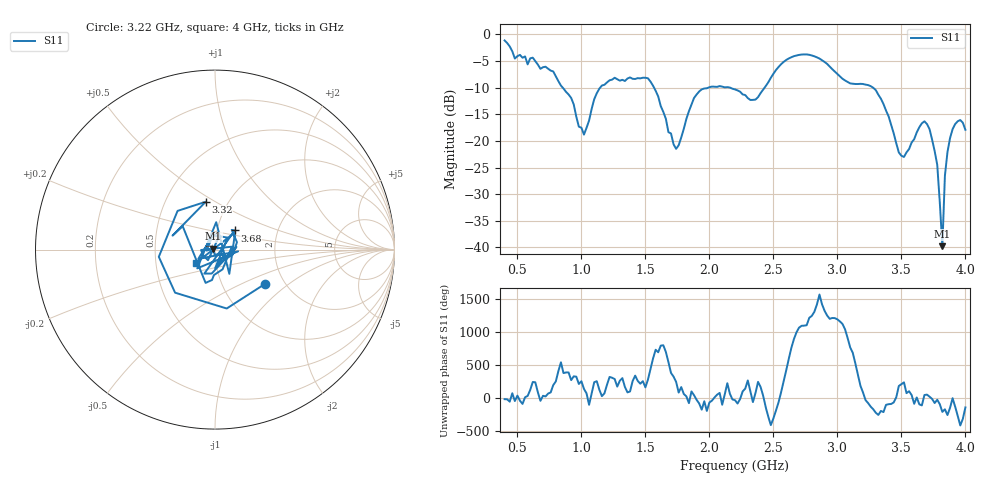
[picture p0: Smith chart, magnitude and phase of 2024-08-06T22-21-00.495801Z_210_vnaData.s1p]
!Created with skrf (http://scikit-rf.org).
# Hz S RI R 50.0
!freq ReS11 ImS11
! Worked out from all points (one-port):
!   181 points, 400 MHz to 4 GHz, reference 50 ohm
!   lowest |S11| = -39.8 dB at 3.82 GHz (marker M1), VSWR 1.02, Z = 49.1 + j0.549 ohm
!   |S11| at or under -10 dB: 854.5 MHz to 1.146 GHz (291.9 MHz wide, 29.2 % of centre); 1.568 GHz to 1.99 GHz (422.6 MHz wide, 23.8 % of centre); 3.279 GHz to end of sweep (the widest 3 of 4)
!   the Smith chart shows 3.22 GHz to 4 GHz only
!   S11 on the Smith chart (normalised r, x): 3.22 GHz: 1.59, -0.69; 3.32 GHz: 0.79, +0.45; 3.68 GHz: 1.21, +0.27; 4 GHz: 0.80, -0.12
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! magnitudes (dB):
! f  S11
! 400 MHz  -1.1
! 480 MHz  -4.5
! 620 MHz  -4.4
! 860 MHz  -10.2
! 1.02 GHz  -18.8
! 1.14 GHz  -10.2
! 1.3 GHz  -8.7
! 1.52 GHz  -8.2
! 1.72 GHz  -20.6
! 1.76 GHz  -20.8
! 1.92 GHz  -10.7
! 2.2 GHz  -10.3
! 2.36 GHz  -12.2
! 2.66 GHz  -4.1
! 2.86 GHz  -4.5
! 3.1 GHz  -9.2
! 3.22 GHz  -9.4
! 3.32 GHz  -11.3
! 3.48 GHz  -22.2
! 3.56 GHz  -21.5
! 3.68 GHz  -16.3
! 3.72 GHz  -17.8
! 3.78 GHz  -24.5
! 3.82 GHz  -39.8
! 3.84 GHz  -26.5
! 3.88 GHz  -19.5
! 3.94 GHz  -16.3
! 4 GHz  -17.9
